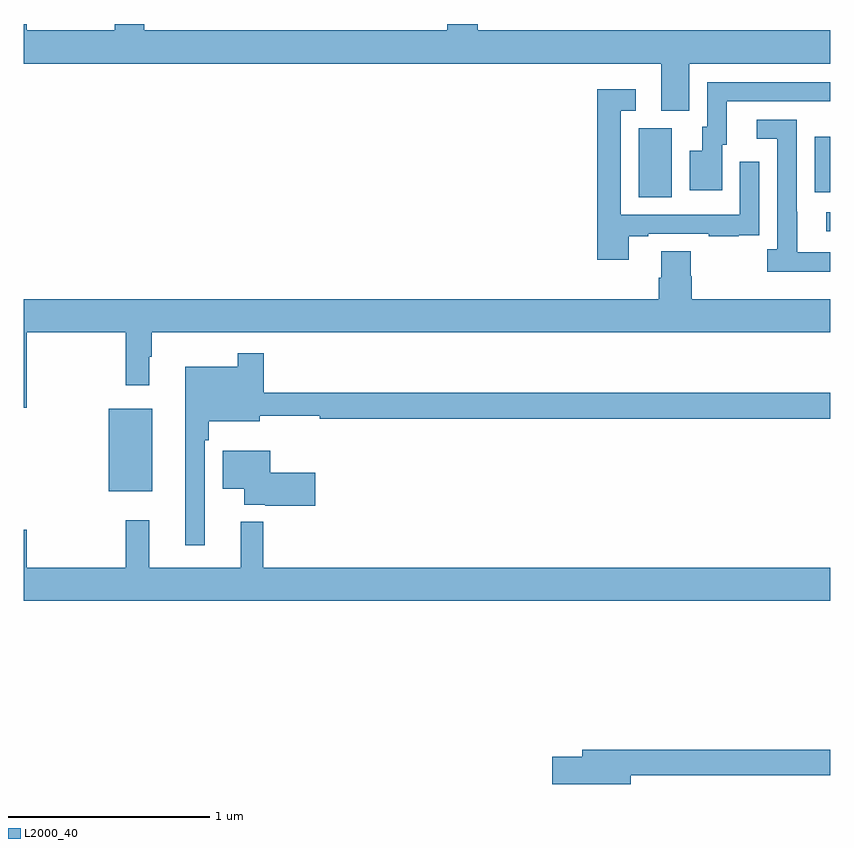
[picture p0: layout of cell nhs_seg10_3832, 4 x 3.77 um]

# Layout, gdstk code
import gdstk
lib = gdstk.Library(unit=1e-6, precision=1e-09)
def R(c, l, rs):  # rectangles x0, y0, x1, y1
    for r in rs: c.add(gdstk.rectangle(r[:2], r[2:], *l))
def P(c, l, *ps):  # polygons
    for p in ps: c.add(gdstk.Polygon(p, *l))
L2000_40 = (2000, 40)

nhs_seg10_3832 = lib.new_cell('nhs_seg10_3832')
R(nhs_seg10_3832, L2000_40, [(321.422,1310.183,321.637,1310.593), (324.981,1311.471,325,1311.567), (324.05,1311.64,324.214,1311.984), (324.923,1311.665,325,1311.94)])
P(nhs_seg10_3832, L2000_40, [(324.301,1312.304),(325,1312.304),(325,1312.468),(323.252,1312.468),(323.252,1312.5),(323.1,1312.5),(323.1,1312.468),(321.598,1312.468),(321.598,1312.5),(321.451,1312.5),(321.451,1312.468),(321.016,1312.468),(321.016,1312.5),(321,1312.5),(321,1312.304),(324.161,1312.304),(324.161,1312.069),(324.301,1312.069)],
  [(324.463,1311.9),(324.487,1311.9),(324.487,1312.116),(325,1312.116),(325,1312.212),(324.39,1312.212),(324.39,1311.99),(324.365,1311.99),(324.365,1311.871),(324.302,1311.871),(324.302,1311.675),(324.463,1311.675)],
  [(324.001,1311.447),(324.097,1311.447),(324.097,1311.459),(324.397,1311.459),(324.397,1311.447),(324.545,1311.447),(324.545,1311.453),(324.647,1311.453),(324.647,1311.562),(324.648,1311.562),(324.648,1311.817),(324.552,1311.817),(324.552,1311.555),(323.961,1311.555),(323.961,1312.071),(324.034,1312.071),(324.034,1312.177),(323.845,1312.177),(323.845,1311.33),(324.001,1311.33)],
  [(325,1311.369),(324.835,1311.369),(324.835,1311.569),(324.834,1311.569),(324.834,1312.026),(324.636,1312.026),(324.636,1311.93),(324.738,1311.93),(324.738,1311.382),(324.687,1311.382),(324.687,1311.272),(325,1311.272)],
  [(321.016,1310.972),(321.505,1310.972),(321.505,1310.709),(321.622,1310.709),(321.622,1310.849),(321.634,1310.849),(321.634,1310.972),(325,1310.972),(325,1311.136),(324.314,1311.136),(324.314,1311.249),(324.309,1311.249),(324.309,1311.374),(324.161,1311.374),(324.161,1311.242),(324.149,1311.242),(324.149,1311.136),(321,1311.136),(321,1310.598),(321.016,1310.598)],
  [(321.897,1310.435),(321.917,1310.435),(321.917,1310.531),(322.171,1310.531),(322.171,1310.557),(322.467,1310.557),(322.467,1310.542),(325,1310.542),(325,1310.671),(322.19,1310.671),(322.19,1310.866),(322.062,1310.866),(322.062,1310.8),(321.8,1310.8),(321.8,1309.914),(321.897,1309.914)],
  [(322.447,1310.275),(322.222,1310.275),(322.222,1310.383),(321.986,1310.383),(321.986,1310.195),(322.094,1310.195),(322.094,1310.117),(322.198,1310.117),(322.198,1310.112),(322.447,1310.112)],
  [(325,1309.804),(322.188,1309.804),(322.188,1310.032),(322.076,1310.032),(322.076,1309.804),(321.623,1309.804),(321.623,1310.038),(321.505,1310.038),(321.505,1309.804),(321.016,1309.804),(321.016,1309.993),(321,1309.993),(321,1309.64),(325,1309.64)],
  [(324.01,1308.774),(325,1308.774),(325,1308.902),(323.771,1308.902),(323.771,1308.866),(323.622,1308.866),(323.622,1308.731),(324.01,1308.731)])

lib.write_gds('nhs_seg10_3832.gds')
